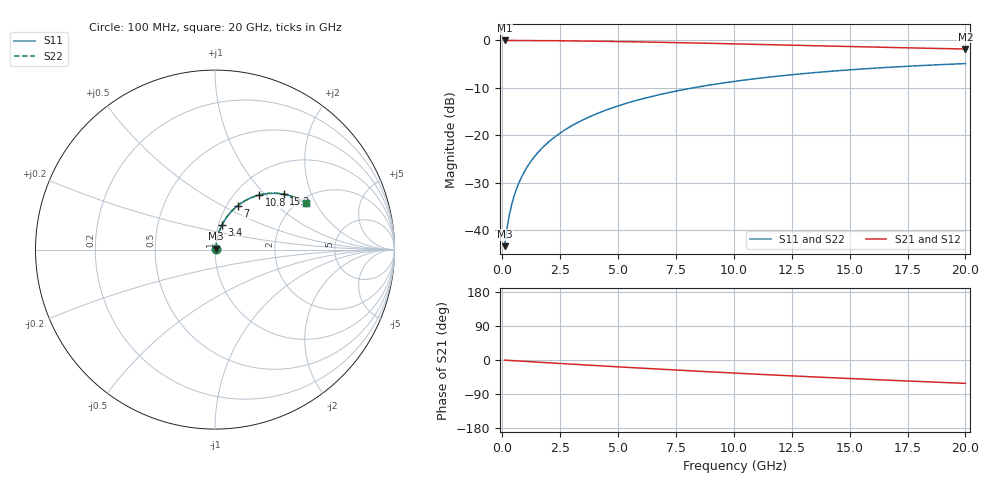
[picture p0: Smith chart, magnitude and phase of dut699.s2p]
! Touchstone file exported from HFSS 2026.1.0
!  File:  C:/ffzhzh/LocalFiles/Ansys_Project_Files/temp_train_TMRDL_699_1783010435_4048.aedt
!  Generated:  12:42:20 AM Jul  3, 2026
!  Design:  TMRDL
!  Project:  temp_train_TMRDL_699_1783010435_4048
! Variables:
!  h_bsmrdl = 2um
!  h_ox = 20um
!  h_rdl = 5um
!  h_sub = 80um
!  h_tmrdl = 4.2um
!  h_tsv = 80um
!  h_via = 3um
!  l_bsmrdl = 300um
!  l_sub = 1349.02um
!  l_tmrdl = 949.02um
!  m_sub = 200um
!  pitch = 48.59um
!  r_tsv = 6um
!  s_tmrdl = 10um
!  w_bsmrdl = 18um
!  w_sub = 500um
!  w_tmrdl = 15.93um
!  x_tsv_center1 = 956.985um
!  x_tsv_center2 = 1274.985um
!  x_tsv_center3 = 2239.935um
!  x_tsv_center4 = 2557.935um
!  x_tsv_center5 = 3522.885um
!  x_tsv_center6 = 3840.885um
# GHz S MA R 50.000000
! Terminal data exported
! Port[1] = TM_RDL1_1_T1
! Port[2] = TM_RDL1_1_T2
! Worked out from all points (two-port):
!   200 points, 100 MHz to 20 GHz, reference 50 ohm
!   highest |S21| = -0.04 dB at 100 MHz (marker M1); lowest = -1.8 dB at 20 GHz (marker M2)
!   |S21| within 3 dB of the highest: start of sweep to end of sweep
!   lowest |S11| = -43.4 dB at 100 MHz (marker M3), VSWR 1.01, Z = 50.5 + j0.451 ohm
!   |S11| at or under -10 dB: start of sweep to 8.271 GHz
!   |S22| runs from -43.4 to -4.9 dB; largest |S21 - S12| = 7.3e-15
!   S11 on the Smith chart (normalised r, x): 100 MHz: 1.01, +0.01; 3.4 GHz: 1.04, +0.29; 7 GHz: 1.12, +0.59; 10.8 GHz: 1.28, +0.92; 15.2 GHz: 1.59, +1.30; 20 GHz: 2.19, +1.66
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0.1  0.006781 41.2  0.9949 -0.4  0.9949 -0.4  0.006781 41.2
! Gamma 0 0 0 0
! Port Impedance 50 0 50 0
0.2  0.01034 58.9  0.9947 -0.8  0.9947 -0.8  0.01034 58.9
0.3  0.01431 66.7  0.9945 -1.1  0.9945 -1.1  0.01431 66.7
0.4  0.01837 70.9  0.9943 -1.5  0.9943 -1.5  0.01837 70.9
0.5  0.02248 73.5  0.9941 -1.9  0.9941 -1.9  0.02248 73.5
0.7  0.03074 76.4  0.9937 -2.6  0.9937 -2.6  0.03074 76.4
1  0.04321 78.2  0.993 -3.7  0.993 -3.7  0.04321 78.2
1.4  0.05989 78.7  0.9919 -5.2  0.9919 -5.2  0.05989 78.7
2  0.08482 78.0  0.9897 -7.4  0.9897 -7.4  0.08481 78.1
2.6  0.1095 76.6  0.9868 -9.6  0.9868 -9.6  0.1095 76.6
3.4  0.1417 74.3  0.9819 -12.4  0.9819 -12.4  0.1417 74.3
3.5  0.1457 74.0  0.9813 -12.8  0.9813 -12.8  0.1457 74.0
5  0.2034 69.2  0.9695 -18.1  0.9695 -18.1  0.2034 69.2
6.8  0.2678 63.4  0.9522 -24.2  0.9522 -24.2  0.2678 63.4
7  0.2747 62.7  0.9501 -24.9  0.9501 -24.9  0.2746 62.8
8.5  0.3234 58.0  0.9337 -29.7  0.9337 -29.7  0.3234 58.1
10.1  0.3709 53.1  0.9153 -34.8  0.9153 -34.8  0.3709 53.2
10.8  0.3902 51.1  0.907 -36.9  0.907 -36.9  0.3902 51.1
13.4  0.4542 43.7  0.8765 -44.5  0.8765 -44.5  0.4542 43.8
15.2  0.4918 38.8  0.8561 -49.4  0.8561 -49.4  0.4917 38.9
16.7  0.5191 35.0  0.84 -53.4  0.84 -53.4  0.5191 35.1
20  0.5677 26.9  0.8087 -61.6  0.8087 -61.6  0.5677 27.0
